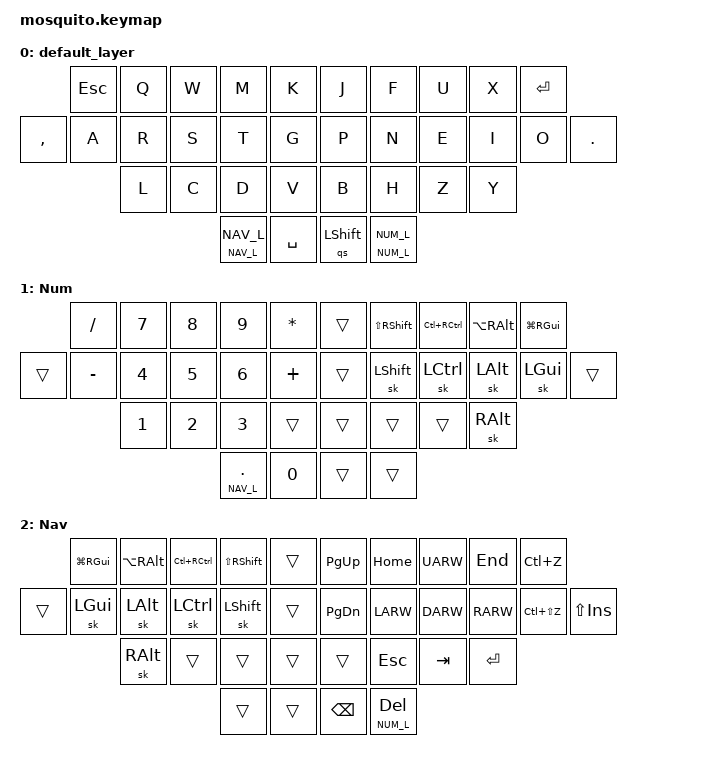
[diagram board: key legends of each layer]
/*
 * Copyright (c) 2020 The ZMK Contributors
 * SPDX-License-Identifier: MIT
 *
 * This is a Colemak DVBF oneshot keymap for the Mosquito keyboard.
 * Last edited by James White, October 24, 2021.
 */

#include <behaviors.dtsi>
#include <dt-bindings/zmk/keys.h>
#include <dt-bindings/zmk/bt.h>

&kscan0 {
    debounce-period = <10>;
};

#define DEF_L 0
#define NUM_L 1
#define NAV_L 2

&sl {
    release-after-ms = <1000>;
};
&sk {
    release-after-ms = <1000>;
};

/ {
    behaviors {
        nl: not_so_sticky_layer {
            compatible = "zmk,behavior-hold-tap";
            label = "not so sticky layer";
            #binding-cells = <2>;
            tapping_term_ms = <200>;
            flavor = "tap-preferred";
            bindings = <&mo>, <&sl>;
        };
        qs: quick_sticky {
            compatible = "zmk,behavior-sticky-key";
            label = "quick sticky";
            #binding-cells = <1>;
            release-after-ms = <1000>;
            bindings = <&kp>;
            quick-release;
        };
        f111: f_one_eleven {
            compatible = "zmk,behavior-mod-morph";
            label = "F1 F11";
            #binding-cells = <0>;
            bindings = <&kp F1>, <&kp F11>;
            mods = <(MOD_RALT)>;
        };
        f212: f_two_twelve {
            compatible = "zmk,behavior-mod-morph";
            label = "F2 F12";
            #binding-cells = <0>;
            bindings = <&kp F2>, <&kp F12>;
            mods = <(MOD_RALT)>;
        };
        f313: f_three_thirteen {
            compatible = "zmk,behavior-mod-morph";
            label = "F3 F13";
            #binding-cells = <0>;
            bindings = <&kp F3>, <&kp F13>;
            mods = <(MOD_RALT)>;
        };
        f414: f_four_fourteen {
            compatible = "zmk,behavior-mod-morph";
            label = "F4 F14";
            #binding-cells = <0>;
            bindings = <&kp F4>, <&kp F14>;
            mods = <(MOD_RALT)>;
        };
        f515: f_five_fifteen {
            compatible = "zmk,behavior-mod-morph";
            label = "F5 F15";
            #binding-cells = <0>;
            bindings = <&kp F5>, <&kp F15>;
            mods = <(MOD_RALT)>;
        };
        f616: f_six_sixteen {
            compatible = "zmk,behavior-mod-morph";
            label = "F6 F16";
            #binding-cells = <0>;
            bindings = <&kp F6>, <&kp F16>;
            mods = <(MOD_RALT)>;
        };
        f717: f_seven_seventeen {
            compatible = "zmk,behavior-mod-morph";
            label = "F7 F17";
            #binding-cells = <0>;
            bindings = <&kp F7>, <&kp F17>;
            mods = <(MOD_RALT)>;
        };
        f818: f_eight_eighteen {
            compatible = "zmk,behavior-mod-morph";
            label = "F8 F18";
            #binding-cells = <0>;
            bindings = <&kp F8>, <&kp F18>;
            mods = <(MOD_RALT)>;
        };
        f919: f_nine_nineteen {
            compatible = "zmk,behavior-mod-morph";
            label = "F9 F19";
            #binding-cells = <0>;
            bindings = <&kp F9>, <&kp F19>;
            mods = <(MOD_RALT)>;
        };
        f1020: f_ten_twenty {
            compatible = "zmk,behavior-mod-morph";
            label = "F10 F20";
            #binding-cells = <0>;
            bindings = <&kp F10>, <&kp F20>;
            mods = <(MOD_RALT)>;
        };
    };
    combos {
        compatible = "zmk,combos";
        combo_left_brace {
            timeout-ms = <25>;
            key-positions = <1 2>;
            bindings = <&kp LBRC>;
        };
        combo_right_brace {
            timeout-ms = <25>;
            key-positions = <2 3>;
            bindings = <&kp RBRC>;
        };
        combo_left_parenthesis {
            timeout-ms = <25>;
            key-positions = <12 13>;
            bindings = <&kp LPAR>;
        };
        combo_right_parenthesis {
            timeout-ms = <25>;
            key-positions = <13 14>;
            bindings = <&kp RPAR>;
        };
        combo_minus {
            timeout-ms = <25>;
            key-positions = <14 15>;
            layers = <0>;
            bindings = <&kp MINUS>;
        };
        combo_left_bracket {
            timeout-ms = <25>;
            key-positions = <22 23>;
            bindings = <&kp LBKT>;
        };
        combo_right_bracket {
            timeout-ms = <25>;
            key-positions = <23 24>;
            bindings = <&kp RBKT>;
        };
        combo_grave {
            timeout-ms = <25>;
            key-positions = <6 7>;
            bindings = <&kp GRAVE>;
        };
        combo_backslash {
            timeout-ms = <25>;
            key-positions = <7 8>;
            bindings = <&kp BSLH>;
        };
        combo_equal {
            timeout-ms = <25>;
            key-positions = <16 17>;
            layers = <0>;
            bindings = <&kp EQUAL>;
        };
        combo_semicolon {
            timeout-ms = <25>;
            key-positions = <17 18>;
            bindings = <&kp SEMI>;
        };
        combo_colon {
            timeout-ms = <25>;
            key-positions = <18 19>;
            bindings = <&kp COLON>;
        };
        combo_apostrophe {
            timeout-ms = <25>;
            key-positions = <27 28>;
            bindings = <&kp APOS>;
        };
        combo_forward_slash {
            timeout-ms = <25>;
            key-positions = <28 29>;
            bindings = <&kp SLASH>;
        };
        combo_f_one {
            timeout-ms = <25>;
            key-positions = <0 11>;
            layers = <1>;
            bindings = <&f111>;
        };
        combo_f_two {
            timeout-ms = <25>;
            key-positions = <1 12>;
            layers = <1>;
            bindings = <&f212>;
        };
        combo_f_three {
            timeout-ms = <25>;
            key-positions = <2 13>;
            layers = <1>;
            bindings = <&f313>;
        };
        combo_f_four {
            timeout-ms = <25>;
            key-positions = <3 14>;
            layers = <1>;
            bindings = <&f414>;
        };
        combo_f_five {
            timeout-ms = <25>;
            key-positions = <4 15>;
            layers = <1>;
            bindings = <&f515>;
        };
        combo_f_six {
            timeout-ms = <25>;
            key-positions = <5 16>;
            layers = <2>;
            bindings = <&f616>;
        };
        combo_f_seven {
            timeout-ms = <25>;
            key-positions = <6 17>;
            layers = <2>;
            bindings = <&f717>;
        };
        combo_f_eight {
            timeout-ms = <25>;
            key-positions = <7 18>;
            layers = <2>;
            bindings = <&f818>;
        };
        combo_f_nine {
            timeout-ms = <25>;
            key-positions = <8 19>;
            layers = <2>;
            bindings = <&f919>;
        };
        combo_f_ten {
            timeout-ms = <25>;
            key-positions = <9 20>;
            layers = <2>;
            bindings = <&f1020>;
        };
        combo_mute {
            timeout-ms = <25>;
            key-positions = <12 22>;
            layers = <1>;
            bindings = <&kp C_MUTE>;
        };
        combo_vol_down {
            timeout-ms = <25>;
            key-positions = <13 23>;
            layers = <1>;
            bindings = <&kp C_VOLUME_DOWN>;
        };
        combo_vol_up {
            timeout-ms = <25>;
            key-positions = <14 24>;
            layers = <1>;
            bindings = <&kp C_VOLUME_UP>;
        };
        combo_media_play_pause {
            timeout-ms = <25>;
            key-positions = <17 27>;
            layers = <2>;
            bindings = <&kp C_PLAY_PAUSE>;
        };
        combo_media_prev {
            timeout-ms = <25>;
            key-positions = <18 28>;
            layers = <2>;
            bindings = <&kp C_PREV>;
        };
        combo_media_next {
            timeout-ms = <25>;
            key-positions = <19 29>;
            layers = <2>;
            bindings = <&kp C_NEXT>;
        };
        combo_ctl_sft_tab {
            timeout-ms = <25>;
            key-positions = <1 2 3>;
            bindings = <&kp LC(LS(TAB))>;
        };
        combo_alt_sft_tab {
            timeout-ms = <25>;
            key-positions = <12 13 14>;
            bindings = <&kp LA(LS(TAB))>;
        };
        combo_gui_sft_tab {
            timeout-ms = <25>;
            key-positions = <22 23 24>;
            bindings = <&kp LG(LS(TAB))>;
        };
        combo_ctl_tab {
            timeout-ms = <25>;
            key-positions = <6 7 8>;
            bindings = <&kp LC(TAB)>;
        };
        combo_alt_tab {
            timeout-ms = <25>;
            key-positions = <17 18 19>;
            bindings = <&kp LA(TAB)>;
        };
        combo_gui_tab {
            timeout-ms = <25>;
            key-positions = <27 28 29>;
            bindings = <&kp LG(TAB)>;
        };
        combo_printscreen {
            timeout-ms = <25>;
            key-positions = <31 32>;
            bindings = <&kp PSCRN>;
        };
    };
};

/ {
    keymap {
        compatible = "zmk,keymap";

        default_layer {
            bindings = <
                            &kp ESC     &kp Q       &kp W       &kp M       &kp K           &kp J       &kp F       &kp U       &kp X       &kp RET
                &kp COMMA   &kp A       &kp R       &kp S       &kp T       &kp G           &kp P       &kp N       &kp E       &kp I       &kp O      &kp DOT
                                        &kp L       &kp C       &kp D       &kp V           &kp B       &kp H       &kp Z       &kp Y
                                                                &nl NAV_L NAV_L &kp SPACE   &qs LSHFT   &nl NUM_L NUM_L
            >;
        };

        num_layer {
            label = "Num";
            bindings = <
                            &kp SLASH   &kp N7      &kp N8      &kp N9      &kp ASTRK       &trans      &kp LS(RSHFT) &kp LC(RCTRL) &kp LA(RALT) &kp LG(RGUI)
                &trans      &kp MINUS   &kp N4      &kp N5      &kp N6      &kp PLUS        &trans      &sk LSHFT   &sk LCTRL   &sk LALT   &sk LGUI    &trans
                                        &kp N1      &kp N2      &kp N3      &trans          &trans      &trans      &trans      &sk RALT
                                                                &lt NAV_L DOT &kp N0        &trans      &trans
            >;
        };

        nav_layer {
            label = "Nav";
            bindings = <
                            &kp LG(RGUI) &kp LA(RALT) &kp LC(RCTRL) &kp LS(RSHFT) &trans    &kp PG_UP   &kp HOME    &kp UARW    &kp END    &kp LC(Z)
                &trans      &sk LGUI    &sk LALT    &sk LCTRL   &sk LSHFT   &trans          &kp PG_DN   &kp LARW    &kp DARW    &kp RARW   &kp LC(LS(Z)) &kp LS(INS)
                                        &sk RALT    &trans      &trans      &trans          &trans      &kp ESC     &kp TAB     &kp RET
                                                                &trans      &trans          &kp BSPC    &lt NUM_L DEL
            >;
        };

    };
};
